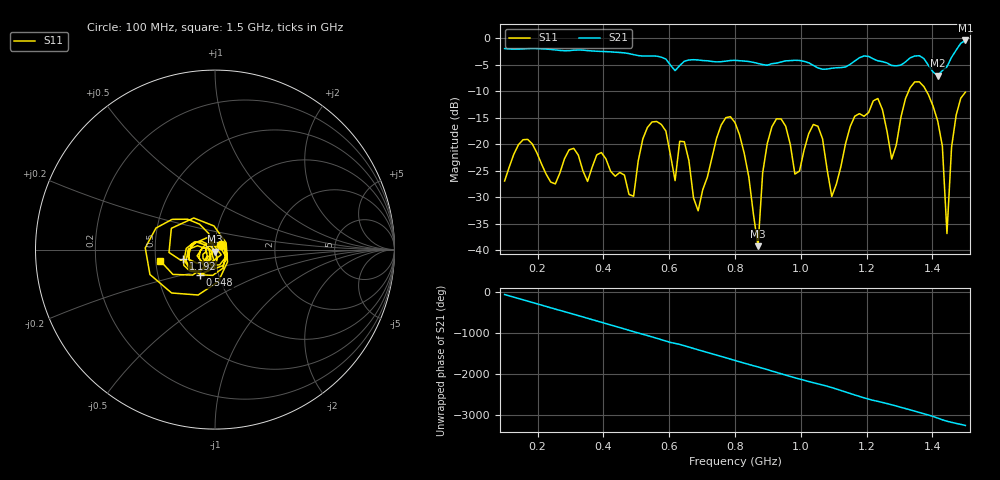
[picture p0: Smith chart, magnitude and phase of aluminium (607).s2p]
! NanoVNA-App
! Date: 2025-09-25 15:00:00
! Start: 100MHz Stop: 1,5GHz Points: 101
! S-Parameter data: F S11 S21 S12 S22
# Hz S RI R 50
!  Frequency  S11_Real  S11_Imag  S21_Real  S21_Imag  S12_Real  S12_Imag  S22_Real  S22_Imag
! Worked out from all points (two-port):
!   101 points, 100 MHz to 1.5 GHz, reference 50 ohm
!   highest |S21| = -0.38 dB at 1.5 GHz (marker M1); lowest = -7.0 dB at 1.416 GHz (marker M2)
!   |S21| within 3 dB of the highest: start of sweep to 564.6 MHz; 1.46 GHz to end of sweep (the widest 2 of 4)
!   lowest |S11| = -39.3 dB at 870 MHz (marker M3), VSWR 1.02, Z = 50.1 - j1.08 ohm
!   |S11| at or under -10 dB: start of sweep to 1.327 GHz; 1.382 GHz to end of sweep
!   S12 and S22 are empty: the file has one direction only
!   S11 on the Smith chart (normalised r, x): 100 MHz: 1.07, +0.06; 548 MHz: 0.82, -0.24; 1.192 GHz: 0.70, -0.08; 1.5 GHz: 0.53, -0.08
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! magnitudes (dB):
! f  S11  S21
! 100 MHz  -27.0  -1.9
! 156 MHz  -19.2  -2.0
! 338 MHz  -25.1  -2.2
! 492 MHz  -29.8  -3.1
! 548 MHz  -15.8  -3.3
! 576 MHz  -16.3  -3.5
! 646 MHz  -19.5  -4.3
! 688 MHz  -32.6  -4.1
! 800 MHz  -15.9  -4.1
! 870 MHz  -39.3  -4.7
! 912 MHz  -16.7  -4.8
! 982 MHz  -25.7  -4.1
! 1.038 GHz  -16.3  -5.1
! 1.094 GHz  -29.9  -5.6
! 1.192 GHz  -14.7  -3.3
! 1.234 GHz  -11.4  -4.2
! 1.276 GHz  -22.8  -5.1
! 1.346 GHz  -8.2  -3.3
! 1.416 GHz  -15.6  -7.0
! 1.444 GHz  -36.9  -5.3
! 1.458 GHz  -20.5  -3.6
! 1.5 GHz  -10.2  -0.4
